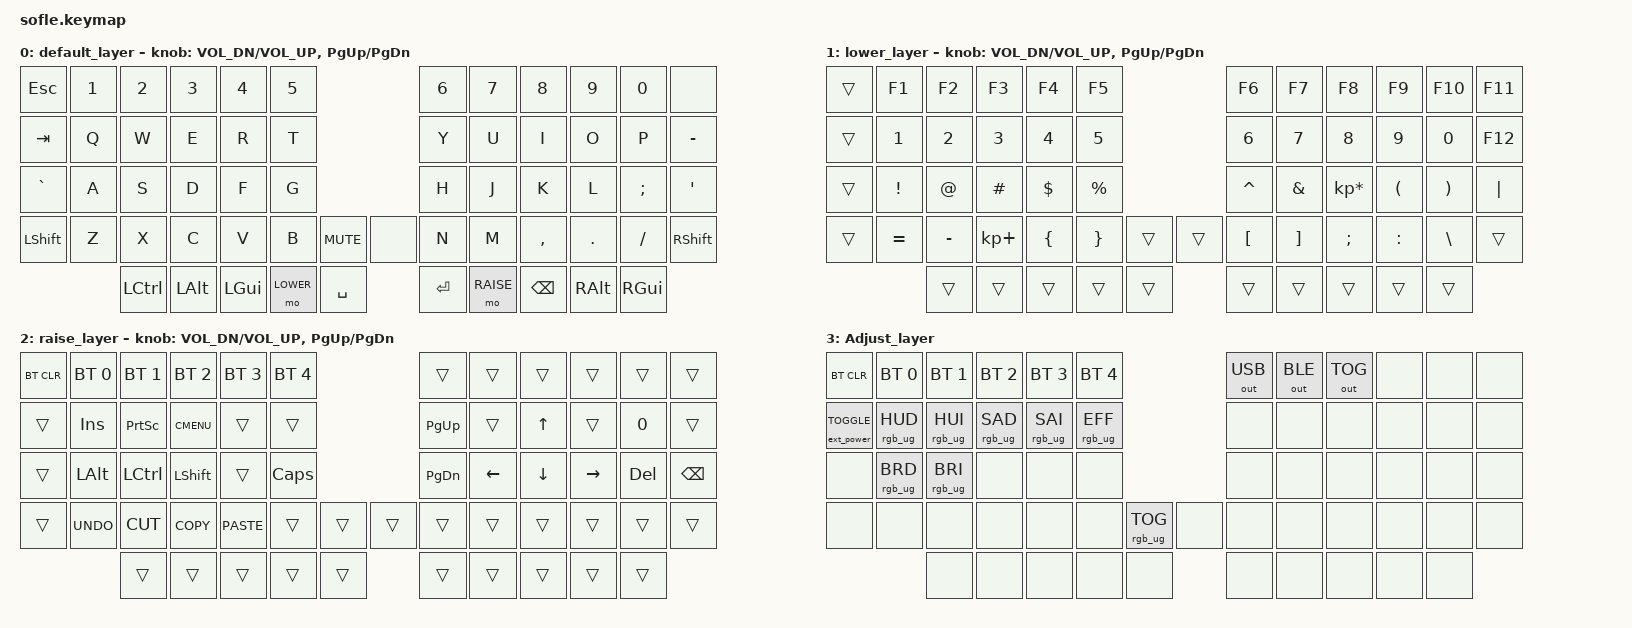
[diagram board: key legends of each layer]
/*
 * Copyright (c) 2020 The ZMK Contributors
 *
 * SPDX-License-Identifier: MIT
 */

#include <behaviors.dtsi>
#include <dt-bindings/zmk/keys.h>
#include <dt-bindings/zmk/bt.h>
#include <dt-bindings/zmk/rgb.h>
#include <dt-bindings/zmk/ext_power.h>
#include <dt-bindings/zmk/outputs.h>

#define BASE 0
#define LOWER 1
#define RAISE 2
#define ADJUST 3

&left_encoder { resolution = <4>; };
&right_encoder { resolution = <4>; };
/ {

   // Activate ADJUST layer by pressing raise and lower
    conditional_layers {
        compatible = "zmk,conditional-layers";
        adjust_layer {
            if-layers = <LOWER RAISE>;
            then-layer = <ADJUST>;
        };
    };

//    behaviors {
//      sl_mo: behavior_sl_mo {
//          compatible = "zmk,behavior-hold-tap";
//          label = "SL_MO";
//          #binding-cells = <2>;
//          flavor = "hold-preferred";
//          tapping-term-ms = <200>;
//          bindings = <&sl>, <&mo>;
//      };
//    };

    keymap {
        compatible = "zmk,keymap";

        default_layer {
// ------------------------------------------------------------------------------------------------------------
// |  ESC  |  1  |  2  |  3   |  4   |  5   |                   |  6   |  7    |  8    |  9   |   0   |       |
// |  TAB  |  Q  |  W  |  E   |  R   |  T   |                   |  Y   |  U    |  I    |  O   |   P   |   -   |
// | SHIFT |  A  |  S  |  D   |  F   |  G   |                   |  H   |  J    |  K    |  L   |   ;   |   '   |
// |  `    |  Z  |  X  |  C   |  V   |  B   |  MUTE  |  |       |  N   |  M    |  ,    |  .   |   /   | SHIFT |
//               | CTRL| ALT  | GUI  | LOWER|  SPACE |  | ENTER | RAISE| CTRL  | ALT   | GUI  |
            bindings = <
&kp ESC   &kp N1 &kp N2   &kp N3   &kp N4    &kp N5                      &kp N6 &kp N7    &kp N8    &kp N9   &kp N0   &none
&kp TAB   &kp Q  &kp W    &kp E    &kp R     &kp T                       &kp Y  &kp U     &kp I     &kp O    &kp P    &kp MINUS
&kp GRAVE &kp A  &kp S    &kp D    &kp F     &kp G                       &kp H  &kp J     &kp K     &kp L    &kp SEMI &kp SQT
&kp LSHFT &kp Z  &kp X    &kp C    &kp V     &kp B  &kp C_MUTE &none     &kp N  &kp M     &kp COMMA &kp DOT  &kp FSLH &kp RSHFT
                 &kp LCTRL &kp LALT &kp LGUI &mo LOWER &kp SPACE    &kp RET &mo RAISE &kp BSPC &kp RALT  &kp RGUI
            >;

            sensor-bindings = <&inc_dec_kp C_VOL_DN C_VOL_UP &inc_dec_kp PG_UP PG_DN>;
        };

        lower_layer {
// TODO: Some binds are waiting for shifted keycode support.
// ------------------------------------------------------------------------------------------------------------
// |       |  F1 |  F2 |  F3  |  F4  |  F5  |                   |  F6  |  F7   |  F8   |  F9  |  F10  |  F11  |
// | `     |   1 |   2 |   3  |   4  |   5  |                   |   6  |   7   |   8   |   9  |    0  |  F12  |
// |       |  !  |  @  |  #   |  $   |  %   |                   |  ^   |  &    |  *    |  (   |   )   |   |   |
// |       |  =  |  -  |  +   |  {   |  }   |        |  |       |  [   |  ]    |  ;    |  :   |   \   |       |
//               |     |      |      |      |        |  |       |      |       |       |      |
            bindings = <
&trans    &kp F1    &kp F2    &kp F3      &kp F4    &kp F5                    &kp F6    &kp F7   &kp F8          &kp F9    &kp F10   &kp F11
&trans   &kp N1    &kp N2    &kp N3      &kp N4    &kp N5                    &kp N6    &kp N7   &kp N8          &kp N9    &kp N0    &kp F12
&trans    &kp EXCL  &kp AT    &kp HASH    &kp DLLR  &kp PRCNT                 &kp CARET &kp AMPS &kp KP_MULTIPLY &kp LPAR  &kp RPAR  &kp PIPE
&trans    &kp EQUAL &kp MINUS &kp KP_PLUS &kp LBRC  &kp RBRC  &trans   &trans &kp LBKT  &kp RBKT &kp SEMI        &kp COLON &kp BSLH  &trans
                    &trans    &trans      &trans    &trans    &trans   &trans &trans    &trans   &trans          &trans
            >;

            sensor-bindings = <&inc_dec_kp C_VOL_DN C_VOL_UP &inc_dec_kp PG_UP PG_DN>;
        };

        raise_layer {
// ------------------------------------------------------------------------------------------------------------
// |BTCLR| BT1  | BT2  |  BT3  |  BT4  |  BT5 |                |      |      |       |      |       |       |
// |     | INS  | PSCR | GUI   |       |      |                | PGUP |      |   ^   |      |       |       |
// |     | ALT  | CTRL | SHIFT |       | CAPS |                | PGDN |   <- |   v   |  ->  |  DEL  | BKSPC |
// |     | UNDO | CUT  | COPY  | PASTE |      |      |  |      |      |      |       |      |       |       |
//              |      |       |       |      |      |  |      |      |      |       |      |
            bindings = <
&bt BT_CLR &bt BT_SEL 0 &bt BT_SEL 1 &bt BT_SEL 2 &bt BT_SEL 3 &bt BT_SEL 4             &trans    &trans    &trans   &trans    &trans  &trans
&trans     &kp INS      &kp PSCRN    &kp K_CMENU  &trans       &trans                   &kp PG_UP &trans    &kp UP   &trans    &kp N0  &trans
&trans     &kp LALT     &kp LCTRL    &kp LSHFT    &trans       &kp CLCK                 &kp PG_DN &kp LEFT  &kp DOWN &kp RIGHT &kp DEL &kp BSPC
&trans     &kp K_UNDO   &kp K_CUT    &kp K_COPY   &kp K_PASTE  &trans  &trans   &trans  &trans    &trans    &trans   &trans    &trans  &trans
                        &trans       &trans       &trans       &trans  &trans   &trans  &trans    &trans    &trans   &trans
            >;

            sensor-bindings = <&inc_dec_kp C_VOL_DN C_VOL_UP &inc_dec_kp PG_UP PG_DN>;
        };

// ------------------------------------------------------------------------------------------------------------
// |BTCLR | BT1   | BT2   |  BT3  |  BT4  |  BT5  |                |      |      |       |      |       |       |
// |EXTPWR|RGB_HUD|RGB_HUI|RGB_SAD|RGB_SAI|RGB_EFF|                |      |      |       |      |       |       |
// |      |RGB_BRD|RGB_BRI|       |       |       |                |      |      |       |      |       |       |
// |      |       |       |       |       |       |RGB_TOG| |      |      |      |       |      |       |       |
//                |       |       |       |       |       | |      |      |      |       |      |

        Adjust_layer {
        bindings = <
&bt BT_CLR                      &bt BT_SEL 0    &bt BT_SEL 1    &bt BT_SEL 2    &bt BT_SEL 3    &bt BT_SEL 4                                    &out OUT_USB &out OUT_BLE &out OUT_TOG &none &none &none
&ext_power EXT_POWER_TOGGLE_CMD &rgb_ug RGB_HUD &rgb_ug RGB_HUI &rgb_ug RGB_SAD &rgb_ug RGB_SAI &rgb_ug RGB_EFF                                 &none &none &none &none &none &none
&none                           &rgb_ug RGB_BRD &rgb_ug RGB_BRI &none           &none           &none                                           &none &none &none &none &none &none
&none                           &none           &none           &none           &none           &none               &rgb_ug RGB_TOG  &none      &none &none &none &none &none &none
                                                &none           &none           &none           &none               &none            &none      &none &none &none &none
        >;
        };

    };
};
